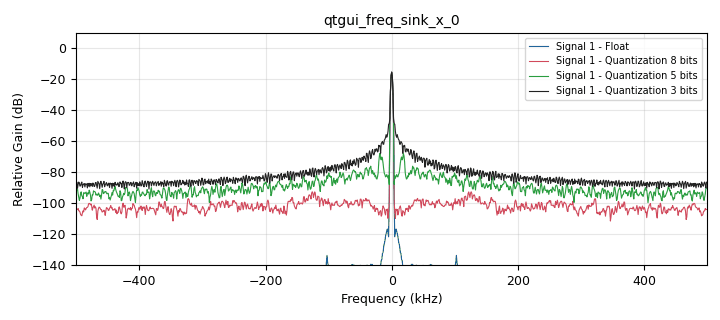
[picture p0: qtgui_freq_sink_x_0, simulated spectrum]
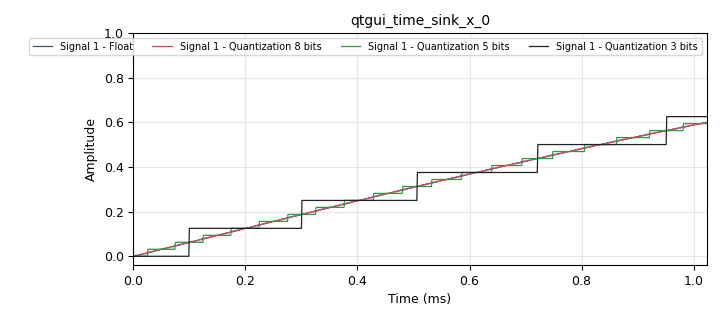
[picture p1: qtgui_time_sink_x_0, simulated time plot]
options:
  parameters:
    generate_options: qt_gui
    id: ex1_10
    output_language: python
    title: Figure 1.16 Demonstration of quantization limit
  states: {}

blocks:
- name: N1
  id: variable
  parameters:
    comment: (8 bits/ 5bits)*6dB/bit=18 dB
    value: pow(2,8)
  states: {}
- name: N2
  id: variable
  parameters:
    value: pow(2,5)
  states: {}
- name: samp_rate
  id: variable
  parameters:
    value: 1e6
  states: {}
- name: analog_noise_source_x_0
  id: analog_noise_source_x
  parameters:
    amp: '5e-6'
    noise_type: analog.GR_GAUSSIAN
    seed: '0'
    type: float
  states: {}
- name: analog_sig_source_x_0
  id: analog_sig_source_x
  parameters:
    amp: '1'
    freq: '100'
    offset: '0'
    phase: '0'
    samp_rate: samp_rate
    type: float
    waveform: analog.GR_COS_WAVE
  states: {}
- name: blocks_add_xx_0
  id: blocks_add_xx
  parameters:
    type: float
  states: {}
- name: blocks_float_to_short_0
  id: blocks_float_to_short
  parameters:
    scale: '1'
  states: {}
- name: blocks_float_to_short_0_0
  id: blocks_float_to_short
  parameters:
    scale: '1'
  states: {}
- name: blocks_float_to_short_0_1
  id: blocks_float_to_short
  parameters:
    scale: '1'
  states: {}
- name: blocks_multiply_const_vxx_0
  id: blocks_multiply_const_vxx
  parameters:
    const: N1
    type: float
  states: {}
- name: blocks_multiply_const_vxx_0_0
  id: blocks_multiply_const_vxx
  parameters:
    const: 1/N1
    type: float
  states: {}
- name: blocks_multiply_const_vxx_0_0_0
  id: blocks_multiply_const_vxx
  parameters:
    const: 1/N2
    type: float
  states: {}
- name: blocks_multiply_const_vxx_0_0_1
  id: blocks_multiply_const_vxx
  parameters:
    const: 1/8
    type: float
  states: {}
- name: blocks_multiply_const_vxx_0_1
  id: blocks_multiply_const_vxx
  parameters:
    const: N2
    type: float
  states: {}
- name: blocks_multiply_const_vxx_0_2
  id: blocks_multiply_const_vxx
  parameters:
    const: '8'
    type: float
  states: {}
- name: blocks_short_to_float_0
  id: blocks_short_to_float
  parameters:
    scale: '1'
  states: {}
- name: blocks_short_to_float_0_0
  id: blocks_short_to_float
  parameters:
    scale: '1'
  states: {}
- name: blocks_short_to_float_0_1
  id: blocks_short_to_float
  parameters:
    scale: '1'
  states: {}
- name: blocks_throttle2_0
  id: blocks_throttle2
  parameters:
    samples_per_second: samp_rate
    type: float
  states: {}
- name: qtgui_freq_sink_x_0
  id: qtgui_freq_sink_x
  parameters:
    average: '0.1'
    bw: samp_rate
    fc: '0'
    fftsize: '1024'
    label1: Signal 1 - Float
    label2: Signal 1 - Quantization 8 bits
    label3: Signal 1 - Quantization 5 bits
    label4: Signal 1 - Quantization 3 bits
    nconnections: '4'
    type: float
  states: {}
- name: qtgui_time_sink_x_0
  id: qtgui_time_sink_x
  parameters:
    label1: Signal 1 - Float
    label2: Signal 1 - Quantization 8 bits
    label3: Signal 1 - Quantization 5 bits
    label4: Signal 1 - Quantization 3 bits
    nconnections: '4'
    size: '1024'
    srate: samp_rate
    tr_mode: qtgui.TRIG_MODE_AUTO
    type: float
    ymin: '0'
  states: {}

connections:
- [analog_noise_source_x_0, '0', blocks_add_xx_0, '0']
- [analog_sig_source_x_0, '0', blocks_add_xx_0, '1']
- [blocks_add_xx_0, '0', blocks_multiply_const_vxx_0, '0']
- [blocks_add_xx_0, '0', blocks_multiply_const_vxx_0_1, '0']
- [blocks_add_xx_0, '0', blocks_multiply_const_vxx_0_2, '0']
- [blocks_add_xx_0, '0', qtgui_freq_sink_x_0, '0']
- [blocks_add_xx_0, '0', qtgui_time_sink_x_0, '0']
- [blocks_float_to_short_0, '0', blocks_short_to_float_0, '0']
- [blocks_float_to_short_0_0, '0', blocks_short_to_float_0_0, '0']
- [blocks_float_to_short_0_1, '0', blocks_short_to_float_0_1, '0']
- [blocks_multiply_const_vxx_0, '0', blocks_float_to_short_0, '0']
- [blocks_multiply_const_vxx_0_0, '0', blocks_throttle2_0, '0']
- [blocks_multiply_const_vxx_0_0_0, '0', qtgui_freq_sink_x_0, '2']
- [blocks_multiply_const_vxx_0_0_0, '0', qtgui_time_sink_x_0, '2']
- [blocks_multiply_const_vxx_0_0_1, '0', qtgui_freq_sink_x_0, '3']
- [blocks_multiply_const_vxx_0_0_1, '0', qtgui_time_sink_x_0, '3']
- [blocks_multiply_const_vxx_0_1, '0', blocks_float_to_short_0_0, '0']
- [blocks_multiply_const_vxx_0_2, '0', blocks_float_to_short_0_1, '0']
- [blocks_short_to_float_0, '0', blocks_multiply_const_vxx_0_0, '0']
- [blocks_short_to_float_0_0, '0', blocks_multiply_const_vxx_0_0_0, '0']
- [blocks_short_to_float_0_1, '0', blocks_multiply_const_vxx_0_0_1, '0']
- [blocks_throttle2_0, '0', qtgui_freq_sink_x_0, '1']
- [blocks_throttle2_0, '0', qtgui_time_sink_x_0, '1']

metadata:
  file_format: 1
  grc_version: 3.10.9.2
